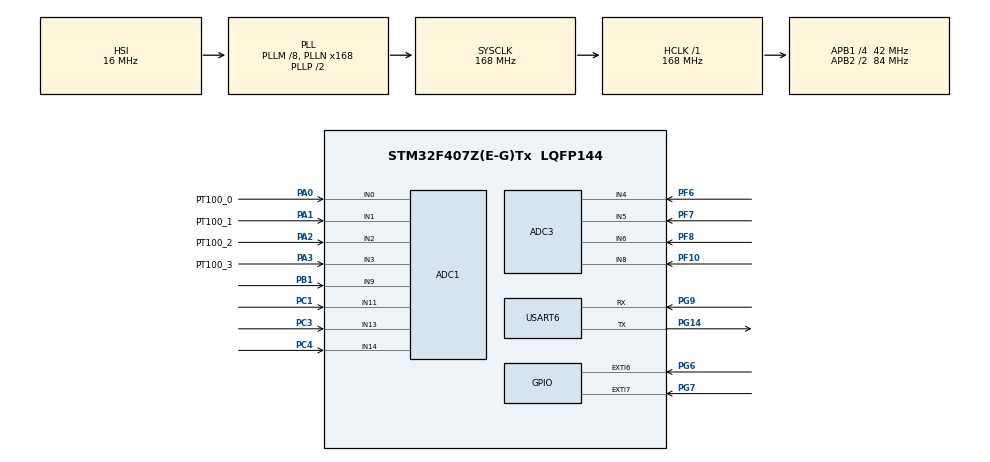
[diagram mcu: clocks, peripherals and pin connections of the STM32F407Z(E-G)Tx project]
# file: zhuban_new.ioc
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ADC1.Channel-0\#ChannelRegularConversion=ADC_CHANNEL_0
ADC1.Channel-1\#ChannelRegularConversion=ADC_CHANNEL_1
ADC1.Channel-2\#ChannelRegularConversion=ADC_CHANNEL_2
ADC1.Channel-3\#ChannelRegularConversion=ADC_CHANNEL_3
ADC1.Channel-4\#ChannelRegularConversion=ADC_CHANNEL_9
ADC1.Channel-5\#ChannelRegularConversion=ADC_CHANNEL_11
ADC1.Channel-6\#ChannelRegularConversion=ADC_CHANNEL_13
ADC1.Channel-7\#ChannelRegularConversion=ADC_CHANNEL_14
ADC1.ContinuousConvMode=ENABLE
ADC1.DMAContinuousRequests=ENABLE
ADC1.InjNumberOfConversion=0
ADC1.NbrOfConversion=8
ADC1.NbrOfConversionFlag=1
ADC1.Rank-0\#ChannelRegularConversion=1
ADC1.Rank-1\#ChannelRegularConversion=2
ADC1.Rank-2\#ChannelRegularConversion=3
ADC1.Rank-3\#ChannelRegularConversion=4
ADC1.Rank-4\#ChannelRegularConversion=5
ADC1.Rank-5\#ChannelRegularConversion=6
ADC1.Rank-6\#ChannelRegularConversion=7
ADC1.Rank-7\#ChannelRegularConversion=8
ADC1.SamplingTime-0\#ChannelRegularConversion=ADC_SAMPLETIME_3CYCLES
ADC1.SamplingTime-1\#ChannelRegularConversion=ADC_SAMPLETIME_3CYCLES
ADC1.SamplingTime-2\#ChannelRegularConversion=ADC_SAMPLETIME_3CYCLES
ADC1.SamplingTime-3\#ChannelRegularConversion=ADC_SAMPLETIME_3CYCLES
ADC1.SamplingTime-4\#ChannelRegularConversion=ADC_SAMPLETIME_3CYCLES
ADC1.SamplingTime-5\#ChannelRegularConversion=ADC_SAMPLETIME_3CYCLES
ADC1.SamplingTime-6\#ChannelRegularConversion=ADC_SAMPLETIME_3CYCLES
ADC1.SamplingTime-7\#ChannelRegularConversion=ADC_SAMPLETIME_3CYCLES
ADC1.ScanConvMode=ENABLE
ADC1.master=1
ADC3.Channel-0\#ChannelRegularConversion=ADC_CHANNEL_4
ADC3.Channel-1\#ChannelRegularConversion=ADC_CHANNEL_5
ADC3.Channel-2\#ChannelRegularConversion=ADC_CHANNEL_6
ADC3.Channel-3\#ChannelRegularConversion=ADC_CHANNEL_8
ADC3.ContinuousConvMode=ENABLE
ADC3.DMAContinuousRequests=ENABLE
ADC3.NbrOfConversion=4
ADC3.NbrOfConversionFlag=1
ADC3.Rank-0\#ChannelRegularConversion=1
ADC3.Rank-1\#ChannelRegularConversion=2
ADC3.Rank-2\#ChannelRegularConversion=3
ADC3.Rank-3\#ChannelRegularConversion=4
ADC3.SamplingTime-0\#ChannelRegularConversion=ADC_SAMPLETIME_3CYCLES
ADC3.SamplingTime-1\#ChannelRegularConversion=ADC_SAMPLETIME_3CYCLES
ADC3.SamplingTime-2\#ChannelRegularConversion=ADC_SAMPLETIME_3CYCLES
ADC3.SamplingTime-3\#ChannelRegularConversion=ADC_SAMPLETIME_3CYCLES
ADC3.ScanConvMode=ENABLE
Dma.ADC1.0.Direction=DMA_PERIPH_TO_MEMORY
Dma.ADC1.0.FIFOMode=DMA_FIFOMODE_DISABLE
Dma.ADC1.0.Instance=DMA2_Stream0
Dma.ADC1.0.MemDataAlignment=DMA_MDATAALIGN_WORD
Dma.ADC1.0.MemInc=DMA_MINC_ENABLE
Dma.ADC1.0.Mode=DMA_CIRCULAR
Dma.ADC1.0.PeriphDataAlignment=DMA_PDATAALIGN_WORD
Dma.ADC1.0.PeriphInc=DMA_PINC_DISABLE
Dma.ADC1.0.Priority=DMA_PRIORITY_MEDIUM
Dma.ADC3.1.Direction=DMA_PERIPH_TO_MEMORY
Dma.ADC3.1.FIFOMode=DMA_FIFOMODE_DISABLE
Dma.ADC3.1.Instance=DMA2_Stream1
Dma.ADC3.1.MemDataAlignment=DMA_MDATAALIGN_WORD
Dma.ADC3.1.MemInc=DMA_MINC_ENABLE
Dma.ADC3.1.Mode=DMA_CIRCULAR
Dma.ADC3.1.PeriphDataAlignment=DMA_PDATAALIGN_WORD
Dma.ADC3.1.PeriphInc=DMA_PINC_DISABLE
Dma.ADC3.1.Priority=DMA_PRIORITY_MEDIUM
Dma.Request0=ADC1
Dma.Request1=ADC3
FREERTOS.Queues01=FINQueue,2,uint16_t,0,Dynamic,NULL,NULL;ADCQueue,2,uint32_t,0,Dynamic,NULL,NULL;AudioQueue,10,uint16_t,0,Dynamic,NULL,NULL
FREERTOS.Tasks01=FINTask,24,128,StartFINTask,Default,NULL,Dynamic,NULL,NULL;ADCTask,24,128,StartADCTask,Default,NULL,Dynamic,NULL,NULL;AudioTask,8,128,StartAudioTask,Default,NULL,Dynamic,NULL,NULL
Mcu.Family=STM32F4
Mcu.Name=STM32F407Z(E-G)Tx
Mcu.Package=LQFP144
NVIC.ADC_IRQn=true\:5\:0\:false\:false\:true\:true\:true\:true\:true
NVIC.DMA2_Stream0_IRQn=true\:5\:0\:false\:false\:true\:true\:false\:true\:true
NVIC.DMA2_Stream1_IRQn=true\:5\:0\:false\:false\:true\:true\:false\:true\:true
NVIC.EXTI9_5_IRQn=true\:5\:0\:true\:false\:true\:true\:true\:true\:true
NVIC.PriorityGroup=NVIC_PRIORITYGROUP_4
NVIC.TIM8_TRG_COM_TIM14_IRQn=true\:15\:0\:false\:false\:true\:false\:false\:true\:true
NVIC.TimeBase=TIM8_TRG_COM_TIM14_IRQn
NVIC.TimeBaseIP=TIM14
NVIC.USART6_IRQn=true\:5\:0\:false\:false\:true\:true\:true\:true\:true
PA0-WKUP.GPIO_Label=PT100_0
PA0-WKUP.Signal=ADCx_IN0
PA1.GPIO_Label=PT100_1
PA1.Signal=ADCx_IN1
PA13.Mode=Serial_Wire
PA13.Signal=SYS_JTMS-SWDIO
PA14.Mode=Serial_Wire
PA14.Signal=SYS_JTCK-SWCLK
PA2.GPIO_Label=PT100_2
PA2.Signal=ADCx_IN2
PA3.GPIO_Label=PT100_3
PA3.Signal=ADCx_IN3
PB1.Signal=ADCx_IN9
PC1.Signal=ADCx_IN11
PC3.Signal=ADCx_IN13
PC4.Signal=ADCx_IN14
PF10.Mode=IN8
PF10.Signal=ADC3_IN8
PF6.Mode=IN4
PF6.Signal=ADC3_IN4
PF7.Mode=IN5
PF7.Signal=ADC3_IN5
PF8.Mode=IN6
PF8.Signal=ADC3_IN6
PG14.Mode=Asynchronous
PG14.Signal=USART6_TX
PG6.GPIO_ModeDefaultEXTI=GPIO_MODE_IT_FALLING
PG6.GPIO_PuPd=GPIO_PULLUP
PG6.Signal=GPXTI6
PG7.GPIO_ModeDefaultEXTI=GPIO_MODE_IT_FALLING
PG7.GPIO_PuPd=GPIO_PULLUP
PG7.Signal=GPXTI7
PG9.Mode=Asynchronous
PG9.Signal=USART6_RX
PH0-OSC_IN.Mode=HSE-External-Oscillator
PH0-OSC_IN.Signal=RCC_OSC_IN
PH1-OSC_OUT.Mode=HSE-External-Oscillator
PH1-OSC_OUT.Signal=RCC_OSC_OUT
ProjectManager.HeapSize=0x200
ProjectManager.StackSize=0x400
ProjectManager.TargetToolchain=MDK-ARM V5.32
RCC.48MHZClocksFreq_Value=84000000
RCC.AHBFreq_Value=168000000
RCC.APB1CLKDivider=RCC_HCLK_DIV4
RCC.APB1Freq_Value=42000000
RCC.APB1TimFreq_Value=84000000
RCC.APB2CLKDivider=RCC_HCLK_DIV2
RCC.APB2Freq_Value=84000000
RCC.APB2TimFreq_Value=168000000
RCC.CortexFreq_Value=168000000
RCC.HCLKFreq_Value=168000000
RCC.HSE_VALUE=8000000
RCC.HSI_VALUE=16000000
RCC.LSE_VALUE=32768
RCC.PLLM=8
RCC.PLLN=168
RCC.SYSCLKFreq_VALUE=168000000
RCC.SYSCLKSource=RCC_SYSCLKSOURCE_PLLCLK
RCC.VCOOutputFreq_Value=336000000
SH.ADCx_IN0.0=ADC1_IN0,IN0
SH.ADCx_IN1.0=ADC1_IN1,IN1
SH.ADCx_IN11.0=ADC1_IN11,IN11
SH.ADCx_IN13.0=ADC1_IN13,IN13
SH.ADCx_IN14.0=ADC1_IN14,IN14
SH.ADCx_IN2.0=ADC1_IN2,IN2
SH.ADCx_IN3.0=ADC1_IN3,IN3
SH.ADCx_IN9.0=ADC1_IN9,IN9
TIM2.AutoReloadPreload=TIM_AUTORELOAD_PRELOAD_ENABLE
TIM2.Period=100000-1
TIM2.Prescaler=84-1
TIM4.AutoReloadPreload=TIM_AUTORELOAD_PRELOAD_ENABLE
TIM4.Period=40000-1
TIM4.Prescaler=8400-1
USART6.VirtualMode=VM_ASYNC
VP_FREERTOS_VS_CMSIS_V2.Mode=CMSIS_V2
VP_SYS_VS_tim14.Mode=TIM14
VP_TIM2_VS_ClockSourceINT.Mode=Internal
VP_TIM4_VS_ClockSourceINT.Mode=Internal
board=custom

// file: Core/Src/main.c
/* USER CODE BEGIN Header */
/**
  ******************************************************************************
  * @file           : main.c
  * @brief          : Main program body
  ******************************************************************************
  * @attention
  *
  * Copyright (c) 2024 STMicroelectronics.
  * All rights reserved.
  *
  * This software is licensed under terms that can be found in the LICENSE file
  * in the root directory of this software component.
  * If no LICENSE file comes with this software, it is provided AS-IS.
  *
  ******************************************************************************
  */
/* USER CODE END Header */
#include "main.h"
#include "cmsis_os.h"
#include "adc.h"
#include "dma.h"
#include "tim.h"
#include "usart.h"
#include "gpio.h"

void SystemClock_Config(void);
void MX_FREERTOS_Init(void);

int main(void)
{

  /* MCU Configuration--------------------------------------------------------*/

  /* Reset of all peripherals, Initializes the Flash interface and the Systick. */
  HAL_Init();

  /* Configure the system clock */
  SystemClock_Config();

  /* Initialize all configured peripherals */
  MX_GPIO_Init();
  MX_DMA_Init();
  MX_ADC1_Init();
  MX_USART6_UART_Init();
  MX_TIM2_Init();
  MX_ADC3_Init();
  MX_TIM4_Init();
  /* USER CODE BEGIN 2 */
  HAL_TIM_Base_Start(&htim2);
	HAL_TIM_Base_Start(&htim4);
  Adc_conv_start();
  /* USER CODE END 2 */

  /* Init scheduler */
  osKernelInitialize();

  /* Call init function for freertos objects (in cmsis_os2.c) */
  MX_FREERTOS_Init();

  /* Start scheduler */
  osKernelStart();

  /* We should never get here as control is now taken by the scheduler */

  /* Infinite loop */
  while (1)
  {

  }
}

void SystemClock_Config(void)
{
  RCC_OscInitTypeDef RCC_OscInitStruct = {0};
  RCC_ClkInitTypeDef RCC_ClkInitStruct = {0};

  /** Configure the main internal regulator output voltage
  */
  __HAL_RCC_PWR_CLK_ENABLE();
  __HAL_PWR_VOLTAGESCALING_CONFIG(PWR_REGULATOR_VOLTAGE_SCALE1);

  /** Initializes the RCC Oscillators according to the specified parameters
  * in the RCC_OscInitTypeDef structure.
  */
  RCC_OscInitStruct.OscillatorType = RCC_OSCILLATORTYPE_HSI;
  RCC_OscInitStruct.HSIState = RCC_HSI_ON;
  RCC_OscInitStruct.HSICalibrationValue = RCC_HSICALIBRATION_DEFAULT;
  RCC_OscInitStruct.PLL.PLLState = RCC_PLL_ON;
  RCC_OscInitStruct.PLL.PLLSource = RCC_PLLSOURCE_HSI;
  RCC_OscInitStruct.PLL.PLLM = 8;
  RCC_OscInitStruct.PLL.PLLN = 168;
  RCC_OscInitStruct.PLL.PLLP = RCC_PLLP_DIV2;
  RCC_OscInitStruct.PLL.PLLQ = 4;
  if (HAL_RCC_OscConfig(&RCC_OscInitStruct) != HAL_OK)
  {
    Error_Handler();
  }

  /** Initializes the CPU, AHB and APB buses clocks
  */
  RCC_ClkInitStruct.ClockType = RCC_CLOCKTYPE_HCLK|RCC_CLOCKTYPE_SYSCLK
                              |RCC_CLOCKTYPE_PCLK1|RCC_CLOCKTYPE_PCLK2;
  RCC_ClkInitStruct.SYSCLKSource = RCC_SYSCLKSOURCE_PLLCLK;
  RCC_ClkInitStruct.AHBCLKDivider = RCC_SYSCLK_DIV1;
  RCC_ClkInitStruct.APB1CLKDivider = RCC_HCLK_DIV4;
  RCC_ClkInitStruct.APB2CLKDivider = RCC_HCLK_DIV2;

  if (HAL_RCC_ClockConfig(&RCC_ClkInitStruct, FLASH_LATENCY_5) != HAL_OK)
  {
    Error_Handler();
  }
}

void HAL_TIM_PeriodElapsedCallback(TIM_HandleTypeDef *htim)
{
  if (htim->Instance == TIM14) {
    HAL_IncTick();
  }
}

void Error_Handler(void)
{
  __disable_irq();
  while (1)
  {
  }
}

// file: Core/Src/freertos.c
/* USER CODE BEGIN Header */
/**
  ******************************************************************************
  * File Name          : freertos.c
  * Description        : Code for freertos applications
  ******************************************************************************
  * @attention
  *
  * Copyright (c) 2024 STMicroelectronics.
  * All rights reserved.
  *
  * This software is licensed under terms that can be found in the LICENSE file
  * in the root directory of this software component.
  * If no LICENSE file comes with this software, it is provided AS-IS.
  *
  ******************************************************************************
  */
/* USER CODE END Header */

#include "FreeRTOS.h"
#include "task.h"
#include "main.h"
#include "cmsis_os.h"

/* USER CODE BEGIN Includes */
#include "tim.h"
#include "queue.h"
#include "adc.h"
#include "string.h"
#include "usart.h"
/* USER CODE END Includes */

/* USER CODE BEGIN Variables */
//前四路为温度采集，后四路为电流采�??
extern  uint32_t adc1_value[ADC1_BUFFER_SIZE];
extern  uint8_t aRxBuffer[RXBUFFERSIZE];
//电流采集
extern  uint32_t adc3_value[ADC3_BUFFER_SIZE];
extern  float adc1Average[ADC1_CHANNEL_COUNT];
extern  float adc3Average[ADC3_CHANNEL_COUNT];
 uint32_t Freq1 = 0, Freq2 = 0;

/* USER CODE END Variables */
/* Definitions for FINTask */
osThreadId_t FINTaskHandle;
const osThreadAttr_t FINTask_attributes = {
  .name = "FINTask",
  .stack_size = 128 * 4,
  .priority = (osPriority_t) osPriorityNormal,
};
/* Definitions for ADCTask */
osThreadId_t ADCTaskHandle;
const osThreadAttr_t ADCTask_attributes = {
  .name = "ADCTask",
  .stack_size = 128 * 4,
  .priority = (osPriority_t) osPriorityNormal,
};
/* Definitions for AudioTask */
osThreadId_t AudioTaskHandle;
const osThreadAttr_t AudioTask_attributes = {
  .name = "AudioTask",
  .stack_size = 128 * 4,
  .priority = (osPriority_t) osPriorityLow,
};
/* Definitions for FINQueue */
osMessageQueueId_t FINQueueHandle;
const osMessageQueueAttr_t FINQueue_attributes = {
  .name = "FINQueue"
};
/* Definitions for ADCQueue */
osMessageQueueId_t ADCQueueHandle;
const osMessageQueueAttr_t ADCQueue_attributes = {
  .name = "ADCQueue"
};
/* Definitions for AudioQueue */
osMessageQueueId_t AudioQueueHandle;
const osMessageQueueAttr_t AudioQueue_attributes = {
  .name = "AudioQueue"
};

void StartFINTask(void *argument);
void StartADCTask(void *argument);
void StartAudioTask(void *argument);

void MX_FREERTOS_Init(void); /* (MISRA C 2004 rule 8.1) */

void MX_FREERTOS_Init(void) {

  /* Create the queue(s) */
  /* creation of FINQueue */
  FINQueueHandle = osMessageQueueNew (2, sizeof(uint16_t), &FINQueue_attributes);

  /* creation of ADCQueue */
  ADCQueueHandle = osMessageQueueNew (2, sizeof(uint32_t), &ADCQueue_attributes);

  /* creation of AudioQueue */
  AudioQueueHandle = osMessageQueueNew (10, sizeof(uint16_t), &AudioQueue_attributes);

  /* Create the thread(s) */
  /* creation of FINTask */
  FINTaskHandle = osThreadNew(StartFINTask, NULL, &FINTask_attributes);

  /* creation of ADCTask */
  ADCTaskHandle = osThreadNew(StartADCTask, NULL, &ADCTask_attributes);

  /* creation of AudioTask */
  AudioTaskHandle = osThreadNew(StartAudioTask, NULL, &AudioTask_attributes);

}

void StartFINTask(void *argument)
{
  /* USER CODE BEGIN StartFINTask */
  uint16_t GPIO_Pin;
  uint32_t start_time_freq1 = 0, start_time_freq2 = 0;
  int state_freq1 = 0, state_freq2 = 0;

  /* Infinite loop */
  for(;;)
  {
    if(xQueueReceive(FINQueueHandle,&GPIO_Pin, portMAX_DELAY)==pdPASS){
      if (GPIO_Pin == GPIO_PIN_6)
      {
        if (state_freq1 == 0)
        {
          start_time_freq1 = __HAL_TIM_GET_COUNTER(&htim2); // 获取起�?�时�???
          state_freq1 = 1;
        }
        else
        {
          uint32_t end_time_freq1 = __HAL_TIM_GET_COUNTER(&htim2); // 获取结束时间
          uint32_t duration;
          if (end_time_freq1 > start_time_freq1)
          {
            duration = end_time_freq1 - start_time_freq1; // 计算周期
          }
          else
          {
            duration = 99999 - start_time_freq1 + end_time_freq1; // 计算周期
          }
          Freq1 = 1000000 / duration; // 计算频率
          state_freq1 = 0;
        }
      }
      else if (GPIO_Pin == GPIO_PIN_7)
      {
        if (state_freq2 == 0)
        {
          start_time_freq2 = __HAL_TIM_GET_COUNTER(&htim2); // 获取起�?�时�???
          state_freq2 = 1;
        }
        else
        {
          uint32_t end_time_freq2 = __HAL_TIM_GET_COUNTER(&htim2); // 获取结束时间
          uint32_t duration;
          if (end_time_freq2 > start_time_freq2)
          {
            duration = end_time_freq2 - start_time_freq2; // 计算周期
          }
          else
          {
            duration = 99999 - start_time_freq2 + end_time_freq2; // 计算周期
          }
          Freq2 = 1000000 / duration; // 计算频率
          state_freq2 = 0;
        }
      }
    }
    osDelay(1);
  }
  /* USER CODE END StartFINTask */
}

void StartADCTask(void *argument)
{
  /* USER CODE BEGIN StartADCTask */
//  ADCMessage adcMessage;

//	uint32_t adc1_sum[ADC1_CHANNEL_COUNT] = {0};
  /* Infinite loop */
  for(;;)
  {

			CalculateAverage(adc1_value, adc1Average, ADC1_CHANNEL_COUNT, SAMPLES_PER_CHANNEL);
			CalculateAverage(adc3_value, adc3Average, ADC3_CHANNEL_COUNT, SAMPLES_PER_CHANNEL);

    osDelay(1);
  }
  /* USER CODE END StartADCTask */
}

void StartAudioTask(void *argument)
{
  /* USER CODE BEGIN StartAudioTask */
  /* Infinite loop */
  for(;;)
  {
#if 0

		Uart_XFS_broadcast("[f0][s0][i1]��![s5][f1]ǰ�������׼������,�빤����Աע��");
//		xQueueSend(AudioQueueHandle, &aRxBuffer[0],200);
		HAL_Delay(50);
	if(xQueueReceive(AudioQueueHandle,&aRxBuffer, portMAX_DELAY)==pdPASS){
		if(aRxBuffer[0]==0x4F){
				Uart_XFS_broadcast("��ѯ���");
			if(aRxBuffer[0]==0x4F){
				break;
			}
		}

//		Uart_XFS_broadcast("��ѯ���");
//		HAL_Delay(3500);
	}
#endif

#if 1
		Uart_XFS_broadcast("[f0][s0][i1]��![s5][f1]ǰ�������׼������,�빤����Աע��");

		HAL_Delay(6000);
		Uart_XFS_broadcast("��ѯ���");
		HAL_Delay(3500);

#endif
    osDelay(1);
  }
  /* USER CODE END StartAudioTask */
}

/* USER CODE BEGIN Application */
void HAL_GPIO_EXTI_Callback(uint16_t GPIO_Pin){
  BaseType_t xHigherPriorityTaskWoken = pdFALSE;

    /* 将中断信号发送到队列 */
	if(xTaskGetSchedulerState()!=taskSCHEDULER_NOT_STARTED){
    xQueueSendFromISR(FINQueueHandle, &GPIO_Pin, &xHigherPriorityTaskWoken);

    portYIELD_FROM_ISR(xHigherPriorityTaskWoken);
	}
}

/* USER CODE END Application */
